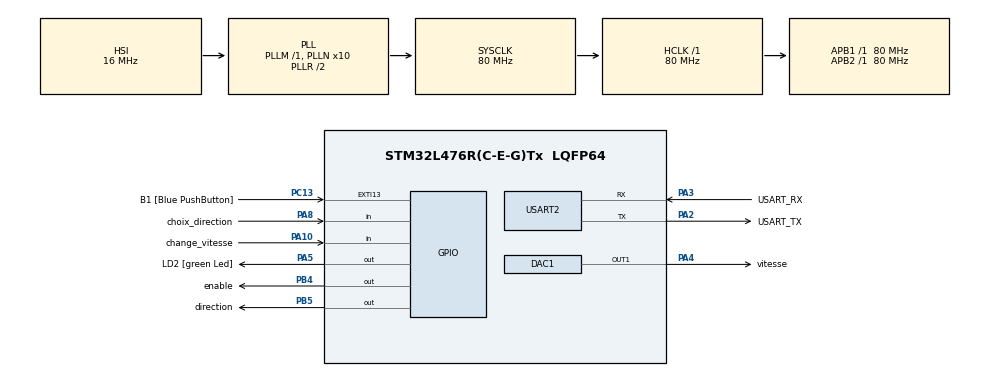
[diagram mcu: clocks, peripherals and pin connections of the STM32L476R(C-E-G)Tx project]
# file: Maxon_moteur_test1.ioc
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Mcu.Family=STM32L4
Mcu.Name=STM32L476R(C-E-G)Tx
Mcu.Package=LQFP64
NVIC.PriorityGroup=NVIC_PRIORITYGROUP_4
PA10.GPIO_Label=change_vitesse
PA10.GPIO_PuPd=GPIO_PULLUP
PA10.Signal=GPIO_Input
PA13\ (JTMS-SWDIO).GPIO_Label=TMS
PA13\ (JTMS-SWDIO).Mode=Serial_Wire
PA13\ (JTMS-SWDIO).Signal=SYS_JTMS-SWDIO
PA14\ (JTCK-SWCLK).GPIO_Label=TCK
PA14\ (JTCK-SWCLK).Mode=Serial_Wire
PA14\ (JTCK-SWCLK).Signal=SYS_JTCK-SWCLK
PA2.GPIO_Label=USART_TX
PA2.GPIO_Mode=GPIO_MODE_AF_PP
PA2.GPIO_PuPd=GPIO_NOPULL
PA2.GPIO_Speed=GPIO_SPEED_FREQ_VERY_HIGH
PA2.Mode=Asynchronous
PA2.Signal=USART2_TX
PA3.GPIO_Label=USART_RX
PA3.GPIO_Mode=GPIO_MODE_AF_PP
PA3.GPIO_PuPd=GPIO_NOPULL
PA3.GPIO_Speed=GPIO_SPEED_FREQ_VERY_HIGH
PA3.Mode=Asynchronous
PA3.Signal=USART2_RX
PA4.GPIO_Label=vitesse 
PA4.Signal=SharedAnalog_PA4
PA5.GPIO_Label=LD2 [green Led]
PA5.GPIO_ModeDefaultOutputPP=GPIO_MODE_OUTPUT_PP
PA5.GPIO_PuPd=GPIO_NOPULL
PA5.GPIO_Speed=GPIO_SPEED_FREQ_LOW
PA5.Signal=GPIO_Output
PA8.GPIO_Label=choix_direction
PA8.GPIO_PuPd=GPIO_PULLUP
PA8.Signal=GPIO_Input
PB3\ (JTDO-TRACESWO).GPIO_Label=SWO
PB3\ (JTDO-TRACESWO).Signal=SYS_JTDO-SWO
PB4\ (NJTRST).GPIO_Label=enable
PB4\ (NJTRST).Signal=GPIO_Output
PB5.GPIO_Label=direction
PB5.Signal=GPIO_Output
PC13.GPIO_Label=B1 [Blue PushButton]
PC13.GPIO_ModeDefaultEXTI=GPIO_MODE_IT_FALLING
PC13.GPIO_PuPd=GPIO_NOPULL
PC13.Signal=GPXTI13
PC14-OSC32_IN\ (PC14).Mode=LSE-External-Oscillator
PC14-OSC32_IN\ (PC14).Signal=RCC_OSC32_IN
PC15-OSC32_OUT\ (PC15).Mode=LSE-External-Oscillator
PC15-OSC32_OUT\ (PC15).Signal=RCC_OSC32_OUT
PH0-OSC_IN\ (PH0).Signal=RCC_OSC_IN
PH1-OSC_OUT\ (PH1).Signal=RCC_OSC_OUT
ProjectManager.HeapSize=0x200
ProjectManager.StackSize=0x400
ProjectManager.TargetToolchain=STM32CubeIDE
RCC.ADCFreq_Value=64000000
RCC.AHBFreq_Value=80000000
RCC.APB1Freq_Value=80000000
RCC.APB1TimFreq_Value=80000000
RCC.APB2Freq_Value=80000000
RCC.APB2TimFreq_Value=80000000
RCC.CortexFreq_Value=80000000
RCC.HCLKFreq_Value=80000000
RCC.HSE_VALUE=8000000
RCC.HSI_VALUE=16000000
RCC.MSI_VALUE=4000000
RCC.PLLN=10
RCC.PLLSourceVirtual=RCC_PLLSOURCE_HSI
RCC.PREFETCH_ENABLE=1
RCC.SYSCLKFreq_VALUE=80000000
RCC.SYSCLKSource=RCC_SYSCLKSOURCE_PLLCLK
RCC.USBFreq_Value=64000000
RCC.VCOOutputFreq_Value=160000000
SH.SharedAnalog_PA4.0=GPIO_Analog
SH.SharedAnalog_PA4.1=DAC1_OUT1,DAC_OUT1
USART2.VirtualMode-Asynchronous=VM_ASYNC
board=NUCLEO-L476RG

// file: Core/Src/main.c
/* USER CODE BEGIN Header */
/**
  ******************************************************************************
  * @file           : main.c
  * @brief          : Main program body
  ******************************************************************************
  * @attention
  *
  * Copyright (c) 2026 STMicroelectronics.
  * All rights reserved.
  *
  * This software is licensed under terms that can be found in the LICENSE file
  * in the root directory of this software component.
  * If no LICENSE file comes with this software, it is provided AS-IS.
  *
  ******************************************************************************
  */
/* USER CODE END Header */
#include "main.h"

DAC_HandleTypeDef hdac1;

UART_HandleTypeDef huart2;

/* USER CODE BEGIN PV */
int32_t vitesse_moteur = 0;
int cpt = 0;
/* USER CODE END PV */

void SystemClock_Config(void);
static void MX_GPIO_Init(void);
static void MX_USART2_UART_Init(void);
static void MX_DAC1_Init(void);

int main(void)
{

  /* MCU Configuration--------------------------------------------------------*/

  /* Reset of all peripherals, Initializes the Flash interface and the Systick. */
  HAL_Init();

  /* Configure the system clock */
  SystemClock_Config();

  /* Initialize all configured peripherals */
  MX_GPIO_Init();
  MX_USART2_UART_Init();
  MX_DAC1_Init();
  /* USER CODE BEGIN 2 */
  HAL_DAC_Start(&hdac1, DAC_CHANNEL_1);   // UNE SEULE FOIS
  HAL_DAC_SetValue(&hdac1, DAC_CHANNEL_1, DAC_ALIGN_12B_R, vitesse_moteur);  //1.5v (1.5 * 3.3)/4095

  HAL_GPIO_WritePin(GPIOB, enable_Pin, GPIO_PIN_RESET);  //desactive moteur
  /* USER CODE END 2 */

  /* Infinite loop */
  /* USER CODE BEGIN WHILE */
  while (1)
  {
	  /* Lire l’état du bouton USER pour arreter moteur*/
	 if(HAL_GPIO_ReadPin(GPIOC, B1_Pin) == GPIO_PIN_RESET) // bouton appuyé
	 {
		 HAL_GPIO_TogglePin(GPIOA, LD2_Pin);
		 HAL_GPIO_TogglePin(GPIOB, enable_Pin); // active ou désactive le moteur

		 HAL_Delay(500);
	 }

	 /* Lire l’état du bouton USER pour changer de direction*/
	 if(HAL_GPIO_ReadPin(GPIOA, choix_direction_Pin) == GPIO_PIN_RESET) // bouton appuyé
	 {
		 HAL_GPIO_TogglePin(GPIOA, LD2_Pin);
		 HAL_GPIO_TogglePin(GPIOB, direction_Pin); // change le sens du moteur
		 HAL_Delay(500);
	 }

	 /* Lire l’état du bouton USER pour changer de vitesse*/
	 if(HAL_GPIO_ReadPin(GPIOA, change_vitesse_Pin) == GPIO_PIN_RESET) // bouton appuyé
	 {
		 HAL_GPIO_TogglePin(GPIOA, LD2_Pin);
		 cpt++;
		 if (cpt == 1 ) vitesse_moteur = ((1/3.3) * 4095);
		 else if (cpt == 2 ) vitesse_moteur = ((1.5/3.3) * 4095);
		 else if (cpt == 3 ) vitesse_moteur = ((2/3.3) * 4095);
		 else if (cpt == 4 ) vitesse_moteur = ((2.5/3.3) * 4095);
		 else if (cpt == 5 ) vitesse_moteur = ((3/3.3) * 4095);
		 else if (cpt == 6 ) vitesse_moteur = ((3.3/3.3) * 4095);
		 else if (cpt == 7) {vitesse_moteur = 0;cpt = 0;}

		 HAL_DAC_SetValue(&hdac1, DAC_CHANNEL_1, DAC_ALIGN_12B_R, vitesse_moteur);  //1.5v (1.5 * 3.3)/4095
		 HAL_Delay(500);
	 }

    /* USER CODE END WHILE */

  }
}

void SystemClock_Config(void)
{
  RCC_OscInitTypeDef RCC_OscInitStruct = {0};
  RCC_ClkInitTypeDef RCC_ClkInitStruct = {0};

  /** Configure the main internal regulator output voltage
  */
  if (HAL_PWREx_ControlVoltageScaling(PWR_REGULATOR_VOLTAGE_SCALE1) != HAL_OK)
  {
    Error_Handler();
  }

  /** Initializes the RCC Oscillators according to the specified parameters
  * in the RCC_OscInitTypeDef structure.
  */
  RCC_OscInitStruct.OscillatorType = RCC_OSCILLATORTYPE_HSI;
  RCC_OscInitStruct.HSIState = RCC_HSI_ON;
  RCC_OscInitStruct.HSICalibrationValue = RCC_HSICALIBRATION_DEFAULT;
  RCC_OscInitStruct.PLL.PLLState = RCC_PLL_ON;
  RCC_OscInitStruct.PLL.PLLSource = RCC_PLLSOURCE_HSI;
  RCC_OscInitStruct.PLL.PLLM = 1;
  RCC_OscInitStruct.PLL.PLLN = 10;
  RCC_OscInitStruct.PLL.PLLP = RCC_PLLP_DIV7;
  RCC_OscInitStruct.PLL.PLLQ = RCC_PLLQ_DIV2;
  RCC_OscInitStruct.PLL.PLLR = RCC_PLLR_DIV2;
  if (HAL_RCC_OscConfig(&RCC_OscInitStruct) != HAL_OK)
  {
    Error_Handler();
  }

  /** Initializes the CPU, AHB and APB buses clocks
  */
  RCC_ClkInitStruct.ClockType = RCC_CLOCKTYPE_HCLK|RCC_CLOCKTYPE_SYSCLK
                              |RCC_CLOCKTYPE_PCLK1|RCC_CLOCKTYPE_PCLK2;
  RCC_ClkInitStruct.SYSCLKSource = RCC_SYSCLKSOURCE_PLLCLK;
  RCC_ClkInitStruct.AHBCLKDivider = RCC_SYSCLK_DIV1;
  RCC_ClkInitStruct.APB1CLKDivider = RCC_HCLK_DIV1;
  RCC_ClkInitStruct.APB2CLKDivider = RCC_HCLK_DIV1;

  if (HAL_RCC_ClockConfig(&RCC_ClkInitStruct, FLASH_LATENCY_4) != HAL_OK)
  {
    Error_Handler();
  }
}

static void MX_DAC1_Init(void)
{

  DAC_ChannelConfTypeDef sConfig = {0};

  /** DAC Initialization
  */
  hdac1.Instance = DAC1;
  if (HAL_DAC_Init(&hdac1) != HAL_OK)
  {
    Error_Handler();
  }

  /** DAC channel OUT1 config
  */
  sConfig.DAC_SampleAndHold = DAC_SAMPLEANDHOLD_DISABLE;
  sConfig.DAC_Trigger = DAC_TRIGGER_NONE;
  sConfig.DAC_OutputBuffer = DAC_OUTPUTBUFFER_ENABLE;
  sConfig.DAC_ConnectOnChipPeripheral = DAC_CHIPCONNECT_DISABLE;
  sConfig.DAC_UserTrimming = DAC_TRIMMING_FACTORY;
  if (HAL_DAC_ConfigChannel(&hdac1, &sConfig, DAC_CHANNEL_1) != HAL_OK)
  {
    Error_Handler();
  }

}

static void MX_USART2_UART_Init(void)
{

  huart2.Instance = USART2;
  huart2.Init.BaudRate = 115200;
  huart2.Init.WordLength = UART_WORDLENGTH_8B;
  huart2.Init.StopBits = UART_STOPBITS_1;
  huart2.Init.Parity = UART_PARITY_NONE;
  huart2.Init.Mode = UART_MODE_TX_RX;
  huart2.Init.HwFlowCtl = UART_HWCONTROL_NONE;
  huart2.Init.OverSampling = UART_OVERSAMPLING_16;
  huart2.Init.OneBitSampling = UART_ONE_BIT_SAMPLE_DISABLE;
  huart2.AdvancedInit.AdvFeatureInit = UART_ADVFEATURE_NO_INIT;
  if (HAL_UART_Init(&huart2) != HAL_OK)
  {
    Error_Handler();
  }

}

static void MX_GPIO_Init(void)
{
  GPIO_InitTypeDef GPIO_InitStruct = {0};

  /* GPIO Ports Clock Enable */
  __HAL_RCC_GPIOC_CLK_ENABLE();
  __HAL_RCC_GPIOH_CLK_ENABLE();
  __HAL_RCC_GPIOA_CLK_ENABLE();
  __HAL_RCC_GPIOB_CLK_ENABLE();

  /*Configure GPIO pin Output Level */
  HAL_GPIO_WritePin(LD2_GPIO_Port, LD2_Pin, GPIO_PIN_RESET);

  /*Configure GPIO pin Output Level */
  HAL_GPIO_WritePin(GPIOB, enable_Pin|direction_Pin, GPIO_PIN_RESET);

  /*Configure GPIO pin : B1_Pin */
  GPIO_InitStruct.Pin = B1_Pin;
  GPIO_InitStruct.Mode = GPIO_MODE_IT_FALLING;
  GPIO_InitStruct.Pull = GPIO_NOPULL;
  HAL_GPIO_Init(B1_GPIO_Port, &GPIO_InitStruct);

  /*Configure GPIO pin : LD2_Pin */
  GPIO_InitStruct.Pin = LD2_Pin;
  GPIO_InitStruct.Mode = GPIO_MODE_OUTPUT_PP;
  GPIO_InitStruct.Pull = GPIO_NOPULL;
  GPIO_InitStruct.Speed = GPIO_SPEED_FREQ_LOW;
  HAL_GPIO_Init(LD2_GPIO_Port, &GPIO_InitStruct);

  /*Configure GPIO pins : choix_direction_Pin change_vitesse_Pin */
  GPIO_InitStruct.Pin = choix_direction_Pin|change_vitesse_Pin;
  GPIO_InitStruct.Mode = GPIO_MODE_INPUT;
  GPIO_InitStruct.Pull = GPIO_PULLUP;
  HAL_GPIO_Init(GPIOA, &GPIO_InitStruct);

  /*Configure GPIO pins : enable_Pin direction_Pin */
  GPIO_InitStruct.Pin = enable_Pin|direction_Pin;
  GPIO_InitStruct.Mode = GPIO_MODE_OUTPUT_PP;
  GPIO_InitStruct.Pull = GPIO_NOPULL;
  GPIO_InitStruct.Speed = GPIO_SPEED_FREQ_LOW;
  HAL_GPIO_Init(GPIOB, &GPIO_InitStruct);

}

void Error_Handler(void)
{
  __disable_irq();
  while (1)
  {
  }
}
